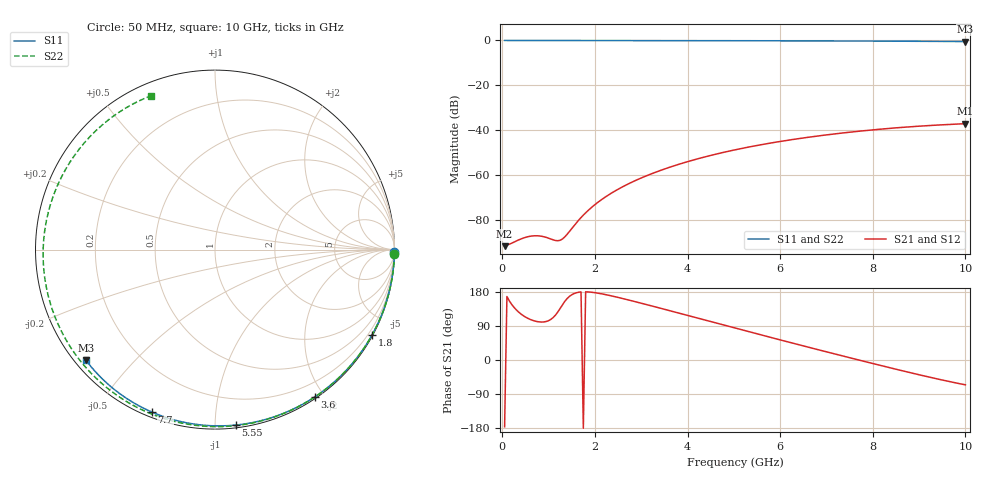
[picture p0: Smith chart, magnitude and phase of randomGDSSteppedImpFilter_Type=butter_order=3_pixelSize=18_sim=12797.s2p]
! freq	dB(S11)	phase(S11)	dB(S12)	phase(S12)
!  dB(S21)	phase(S21)	dB(S22)	phase(S22)
!S-par simulation data
#  GHz  S  DB  R 50
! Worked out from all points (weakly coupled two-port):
!   200 points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, 50 MHz to 10 GHz, reference 50 ohm
!   highest |S21| = -37.01 dB at 10 GHz (marker M1); lowest = -91.4 dB at 50 MHz (marker M2)
!   lowest |S11| = -0.5 dB at 10 GHz (marker M3), VSWR 36.73, Z = 1.55 - j18.4 ohm
!   |S11| at or under -10 dB: nowhere
!   |S22| runs from -0.6 to 0.0 dB; largest |S21 - S12| = 0
!   S11 on the Smith chart (normalised r, x): 50 MHz: open; 1.8 GHz: 0.03, -3.92; 3.6 GHz: 0.02, -1.89; 5.55 GHz: 0.02, -1.12; 7.7 GHz: 0.02, -0.68; 10 GHz: 0.03, -0.37
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0.05  -0.00 -0.8  -91.45 -176.2  -91.45 -176.2  -0.00 -1.3
0.8  -0.02 -12.8  -86.90 100.5  -86.90 100.5  -0.02 -21.3
1.6  -0.03 -25.5  -81.05 177.5  -81.05 177.5  -0.05 -42.0
1.65  -0.03 -26.3  -79.85 178.8  -79.85 178.8  -0.05 -43.3
1.75  -0.04 -27.8  -77.63 -180.0  -77.63 -180.0  -0.06 -45.8
1.8  -0.04 -28.6  -76.61 180.0  -76.61 180.0  -0.06 -47.1
2.1  -0.04 -33.2  -71.40 175.7  -71.40 175.7  -0.07 -54.6
2.45  -0.05 -38.6  -66.73 166.6  -66.73 166.6  -0.08 -63.3
2.9  -0.06 -45.4  -62.03 153.0  -62.03 153.0  -0.10 -74.3
3.4  -0.07 -52.9  -57.89 137.1  -57.89 137.1  -0.11 -86.2
3.6  -0.08 -55.8  -56.46 130.7  -56.46 130.7  -0.12 -90.8
4.3  -0.09 -66.0  -52.17 108.0  -52.17 108.0  -0.15 -106.9
5.05  -0.12 -76.5  -48.51 83.6  -48.51 83.6  -0.19 -123.8
5.55  -0.14 -83.3  -46.49 67.5  -46.49 67.5  -0.22 -134.9
6.15  -0.16 -91.3  -44.41 48.3  -44.41 48.3  -0.26 -148.3
6.7  -0.19 -98.5  -42.78 30.9  -42.78 30.9  -0.30 -160.8
7.2  -0.22 -104.9  -41.48 15.3  -41.48 15.3  -0.35 -172.4
7.7  -0.25 -111.2  -40.35 -0.1  -40.35 -0.1  -0.40 175.7
8.35  -0.31 -119.3  -39.11 -19.9  -39.11 -19.9  -0.46 159.4
9.15  -0.38 -129.1  -37.91 -43.2  -37.91 -43.2  -0.55 137.8
9.55  -0.42 -134.0  -37.44 -54.2  -37.44 -54.2  -0.59 126.2
10  -0.47 -139.5  -37.01 -65.5  -37.01 -65.5  -0.65 112.5
